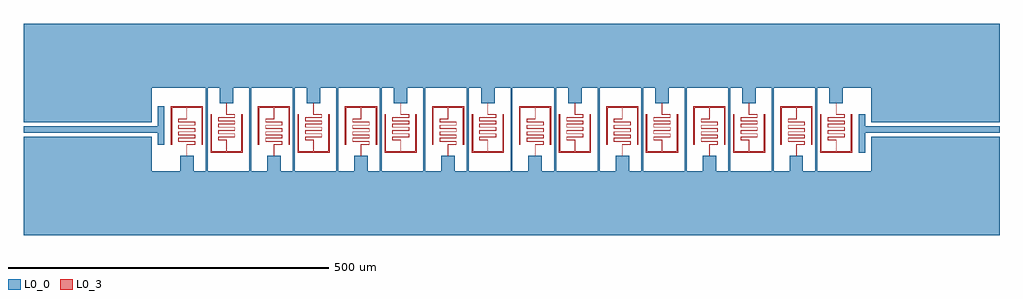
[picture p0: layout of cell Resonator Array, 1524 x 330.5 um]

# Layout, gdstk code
import gdstk
lib = gdstk.Library(unit=1e-6, precision=1e-09)
def P(c, l, *ps):  # polygons
    for p in ps: c.add(gdstk.Polygon(p, *l))
L0_0 = (0, 0)
L0_3 = (0, 3)

resonator_array = lib.new_cell('Resonator Array')
P(resonator_array, L0_0, [(-35,0),(-45,0),(-45,-31.25),(-255,-31.25),(-255,-41.25),(-45,-41.25),(-45,-60),(-35,-60)],
  [(1059,-41.25),(1269,-41.25),(1269,-31.25),(1059,-31.25),(1059,-12.5),(1049,-12.5),(1049,-72.5),(1059,-72.5)],
  [(1003.5,29),(1003.5,5),(1024,5),(1024,29),(1069,29),(1069,-25.25),(1269,-25.25),(1269,129),(-255,129),(-255,-25.25),(-55,-25.25),(-55,29),(32.5,29),(51.5,29),(51.5,5),(72.5,5),(72.5,29),(97.5,29),(97.5,-101.5),(100.5,-101.5),(100.5,29),(168.5,29),(187.5,29),(187.5,5),(208.5,5),(208.5,29),(233.5,29),(233.5,-101.5),(236.5,-101.5),(236.5,29),(304.5,29),(323.5,29),(323.5,5),(344.5,5),(344.5,29),(369.5,29),(369.5,-101.5),(372.5,-101.5),(372.5,29),(440.5,29),(459.5,29),(459.5,5),(480.5,5),(480.5,29),(505.5,29),(505.5,-101.5),(508.5,-101.5),(508.5,29),(576.5,29),(595.5,29),(595.5,5),(616.5,5),(616.5,29),(641.5,29),(641.5,-101.5),(644.5,-101.5),(644.5,29),(712.5,29),(731.5,29),(731.5,5),(752.5,5),(752.5,29),(777.5,29),(777.5,-101.5),(780.5,-101.5),(780.5,29),(848.5,29),(867.5,29),(867.5,5),(888.5,5),(888.5,29),(913.5,29),(913.5,-101.5),(916.5,-101.5),(916.5,29),(981.5,29),(981.5,-101.5),(962,-101.5),(962,-77.5),(941.5,-77.5),(941.5,-101.5),(916.5,-101.5),(913.5,-101.5),(848.5,-101.5),(848.5,29),(780.5,29),(845.5,29),(845.5,-101.5),(826.5,-101.5),(826.5,-77.5),(805.5,-77.5),(805.5,-101.5),(780.5,-101.5),(777.5,-101.5),(712.5,-101.5),(712.5,29),(644.5,29),(709.5,29),(709.5,-101.5),(690.5,-101.5),(690.5,-77.5),(669.5,-77.5),(669.5,-101.5),(644.5,-101.5),(641.5,-101.5),(576.5,-101.5),(576.5,29),(508.5,29),(573.5,29),(573.5,-101.5),(554.5,-101.5),(554.5,-77.5),(533.5,-77.5),(533.5,-101.5),(508.5,-101.5),(505.5,-101.5),(440.5,-101.5),(440.5,29),(372.5,29),(437.5,29),(437.5,-101.5),(418.5,-101.5),(418.5,-77.5),(397.5,-77.5),(397.5,-101.5),(372.5,-101.5),(369.5,-101.5),(304.5,-101.5),(304.5,29),(236.5,29),(301.5,29),(301.5,-101.5),(282.5,-101.5),(282.5,-77.5),(261.5,-77.5),(261.5,-101.5),(236.5,-101.5),(233.5,-101.5),(168.5,-101.5),(168.5,29),(100.5,29),(165.5,29),(165.5,-101.5),(146.5,-101.5),(146.5,-77.5),(125.5,-77.5),(125.5,-101.5),(100.5,-101.5),(97.5,-101.5),(32.5,-101.5),(32.5,29),(-55,29),(29.5,29),(29.5,-101.5),(10.5,-101.5),(10.5,-77.5),(-10.5,-77.5),(-10.5,-101.5),(-55,-101.5),(-55,-47.25),(-255,-47.25),(-255,-201.5),(1269,-201.5),(1269,-47.25),(1069,-47.25),(1069,-101.5),(984.5,-101.5),(984.5,29)])
P(resonator_array, L0_3, [(-25,-60),(-23,-60),(-23,-2),(23,-2),(23,-60),(25,-60),(25,0),(-25,0)],
  [(0.25,-2),(-0.25,-2),(-0.25,-19.5),(-13,-19.5),(-13,-25),(0,-25),(12.5,-25),(12.5,-29.5),(0,-29.5),(-13,-29.5),(-13,-35),(0,-35),(12.5,-35),(12.5,-39.5),(0,-39.5),(-13,-39.5),(-13,-45),(0,-45),(12.5,-45),(12.5,-49.5),(0,-49.5),(-13,-49.5),(-13,-55),(0,-55),(12.5,-55),(12.5,-59.5),(-0.25,-59.5),(-0.25,-77.5),(0.25,-77.5),(0.25,-60),(13,-60),(13,-54.5),(0,-54.5),(-12.5,-54.5),(-12.5,-50),(0,-50),(13,-50),(13,-44.5),(0,-44.5),(-12.5,-44.5),(-12.5,-40),(0,-40),(13,-40),(13,-34.5),(0,-34.5),(-12.5,-34.5),(-12.5,-30),(0,-30),(13,-30),(13,-24.5),(0,-24.5),(-12.5,-24.5),(-12.5,-20),(0.25,-20)],
  [(39,-12.5),(37,-12.5),(37,-72.5),(87,-72.5),(87,-12.5),(85,-12.5),(85,-70.5),(39,-70.5)],
  [(61.75,-70.5),(62.25,-70.5),(62.25,-52.5),(49.5,-52.5),(49.5,-48),(62,-48),(75,-48),(75,-42.5),(62,-42.5),(49.5,-42.5),(49.5,-38),(62,-38),(75,-38),(75,-32.5),(62,-32.5),(49.5,-32.5),(49.5,-28),(62,-28),(75,-28),(75,-22.5),(62,-22.5),(49.5,-22.5),(49.5,-18),(62,-18),(75,-18),(75,-12.5),(62.25,-12.5),(62.25,5),(61.75,5),(61.75,-13),(74.5,-13),(74.5,-17.5),(62,-17.5),(49,-17.5),(49,-23),(62,-23),(74.5,-23),(74.5,-27.5),(62,-27.5),(49,-27.5),(49,-33),(62,-33),(74.5,-33),(74.5,-37.5),(62,-37.5),(49,-37.5),(49,-43),(62,-43),(74.5,-43),(74.5,-47.5),(62,-47.5),(49,-47.5),(49,-53),(61.75,-53)],
  [(111,-60),(113,-60),(113,-2),(159,-2),(159,-60),(161,-60),(161,0),(111,0)],
  [(136.25,-2),(135.75,-2),(135.75,-19.5),(123,-19.5),(123,-25),(136,-25),(148.5,-25),(148.5,-29.5),(136,-29.5),(123,-29.5),(123,-35),(136,-35),(148.5,-35),(148.5,-39.5),(136,-39.5),(123,-39.5),(123,-45),(136,-45),(148.5,-45),(148.5,-49.5),(136,-49.5),(123,-49.5),(123,-55),(136,-55),(148.5,-55),(148.5,-59.5),(135.75,-59.5),(135.75,-77.5),(136.25,-77.5),(136.25,-60),(149,-60),(149,-54.5),(136,-54.5),(123.5,-54.5),(123.5,-50),(136,-50),(149,-50),(149,-44.5),(136,-44.5),(123.5,-44.5),(123.5,-40),(136,-40),(149,-40),(149,-34.5),(136,-34.5),(123.5,-34.5),(123.5,-30),(136,-30),(149,-30),(149,-24.5),(136,-24.5),(123.5,-24.5),(123.5,-20),(136.25,-20)],
  [(175,-12.5),(173,-12.5),(173,-72.5),(223,-72.5),(223,-12.5),(221,-12.5),(221,-70.5),(175,-70.5)],
  [(197.75,-70.5),(198.25,-70.5),(198.25,-52.5),(185.5,-52.5),(185.5,-48),(198,-48),(211,-48),(211,-42.5),(198,-42.5),(185.5,-42.5),(185.5,-38),(198,-38),(211,-38),(211,-32.5),(198,-32.5),(185.5,-32.5),(185.5,-28),(198,-28),(211,-28),(211,-22.5),(198,-22.5),(185.5,-22.5),(185.5,-18),(198,-18),(211,-18),(211,-12.5),(198.25,-12.5),(198.25,5),(197.75,5),(197.75,-13),(210.5,-13),(210.5,-17.5),(198,-17.5),(185,-17.5),(185,-23),(198,-23),(210.5,-23),(210.5,-27.5),(198,-27.5),(185,-27.5),(185,-33),(198,-33),(210.5,-33),(210.5,-37.5),(198,-37.5),(185,-37.5),(185,-43),(198,-43),(210.5,-43),(210.5,-47.5),(198,-47.5),(185,-47.5),(185,-53),(197.75,-53)],
  [(247,-60),(249,-60),(249,-2),(295,-2),(295,-60),(297,-60),(297,0),(247,0)],
  [(272.25,-2),(271.75,-2),(271.75,-19.5),(259,-19.5),(259,-25),(272,-25),(284.5,-25),(284.5,-29.5),(272,-29.5),(259,-29.5),(259,-35),(272,-35),(284.5,-35),(284.5,-39.5),(272,-39.5),(259,-39.5),(259,-45),(272,-45),(284.5,-45),(284.5,-49.5),(272,-49.5),(259,-49.5),(259,-55),(272,-55),(284.5,-55),(284.5,-59.5),(271.75,-59.5),(271.75,-77.5),(272.25,-77.5),(272.25,-60),(285,-60),(285,-54.5),(272,-54.5),(259.5,-54.5),(259.5,-50),(272,-50),(285,-50),(285,-44.5),(272,-44.5),(259.5,-44.5),(259.5,-40),(272,-40),(285,-40),(285,-34.5),(272,-34.5),(259.5,-34.5),(259.5,-30),(272,-30),(285,-30),(285,-24.5),(272,-24.5),(259.5,-24.5),(259.5,-20),(272.25,-20)],
  [(311,-12.5),(309,-12.5),(309,-72.5),(359,-72.5),(359,-12.5),(357,-12.5),(357,-70.5),(311,-70.5)],
  [(333.75,-70.5),(334.25,-70.5),(334.25,-52.5),(321.5,-52.5),(321.5,-48),(334,-48),(347,-48),(347,-42.5),(334,-42.5),(321.5,-42.5),(321.5,-38),(334,-38),(347,-38),(347,-32.5),(334,-32.5),(321.5,-32.5),(321.5,-28),(334,-28),(347,-28),(347,-22.5),(334,-22.5),(321.5,-22.5),(321.5,-18),(334,-18),(347,-18),(347,-12.5),(334.25,-12.5),(334.25,5),(333.75,5),(333.75,-13),(346.5,-13),(346.5,-17.5),(334,-17.5),(321,-17.5),(321,-23),(334,-23),(346.5,-23),(346.5,-27.5),(334,-27.5),(321,-27.5),(321,-33),(334,-33),(346.5,-33),(346.5,-37.5),(334,-37.5),(321,-37.5),(321,-43),(334,-43),(346.5,-43),(346.5,-47.5),(334,-47.5),(321,-47.5),(321,-53),(333.75,-53)],
  [(383,-60),(385,-60),(385,-2),(431,-2),(431,-60),(433,-60),(433,0),(383,0)],
  [(408.25,-2),(407.75,-2),(407.75,-19.5),(395,-19.5),(395,-25),(408,-25),(420.5,-25),(420.5,-29.5),(408,-29.5),(395,-29.5),(395,-35),(408,-35),(420.5,-35),(420.5,-39.5),(408,-39.5),(395,-39.5),(395,-45),(408,-45),(420.5,-45),(420.5,-49.5),(408,-49.5),(395,-49.5),(395,-55),(408,-55),(420.5,-55),(420.5,-59.5),(407.75,-59.5),(407.75,-77.5),(408.25,-77.5),(408.25,-60),(421,-60),(421,-54.5),(408,-54.5),(395.5,-54.5),(395.5,-50),(408,-50),(421,-50),(421,-44.5),(408,-44.5),(395.5,-44.5),(395.5,-40),(408,-40),(421,-40),(421,-34.5),(408,-34.5),(395.5,-34.5),(395.5,-30),(408,-30),(421,-30),(421,-24.5),(408,-24.5),(395.5,-24.5),(395.5,-20),(408.25,-20)],
  [(447,-12.5),(445,-12.5),(445,-72.5),(495,-72.5),(495,-12.5),(493,-12.5),(493,-70.5),(447,-70.5)],
  [(469.75,-70.5),(470.25,-70.5),(470.25,-52.5),(457.5,-52.5),(457.5,-48),(470,-48),(483,-48),(483,-42.5),(470,-42.5),(457.5,-42.5),(457.5,-38),(470,-38),(483,-38),(483,-32.5),(470,-32.5),(457.5,-32.5),(457.5,-28),(470,-28),(483,-28),(483,-22.5),(470,-22.5),(457.5,-22.5),(457.5,-18),(470,-18),(483,-18),(483,-12.5),(470.25,-12.5),(470.25,5),(469.75,5),(469.75,-13),(482.5,-13),(482.5,-17.5),(470,-17.5),(457,-17.5),(457,-23),(470,-23),(482.5,-23),(482.5,-27.5),(470,-27.5),(457,-27.5),(457,-33),(470,-33),(482.5,-33),(482.5,-37.5),(470,-37.5),(457,-37.5),(457,-43),(470,-43),(482.5,-43),(482.5,-47.5),(470,-47.5),(457,-47.5),(457,-53),(469.75,-53)],
  [(519,-60),(521,-60),(521,-2),(567,-2),(567,-60),(569,-60),(569,0),(519,0)],
  [(544.25,-2),(543.75,-2),(543.75,-19.5),(531,-19.5),(531,-25),(544,-25),(556.5,-25),(556.5,-29.5),(544,-29.5),(531,-29.5),(531,-35),(544,-35),(556.5,-35),(556.5,-39.5),(544,-39.5),(531,-39.5),(531,-45),(544,-45),(556.5,-45),(556.5,-49.5),(544,-49.5),(531,-49.5),(531,-55),(544,-55),(556.5,-55),(556.5,-59.5),(543.75,-59.5),(543.75,-77.5),(544.25,-77.5),(544.25,-60),(557,-60),(557,-54.5),(544,-54.5),(531.5,-54.5),(531.5,-50),(544,-50),(557,-50),(557,-44.5),(544,-44.5),(531.5,-44.5),(531.5,-40),(544,-40),(557,-40),(557,-34.5),(544,-34.5),(531.5,-34.5),(531.5,-30),(544,-30),(557,-30),(557,-24.5),(544,-24.5),(531.5,-24.5),(531.5,-20),(544.25,-20)],
  [(583,-12.5),(581,-12.5),(581,-72.5),(631,-72.5),(631,-12.5),(629,-12.5),(629,-70.5),(583,-70.5)],
  [(605.75,-70.5),(606.25,-70.5),(606.25,-52.5),(593.5,-52.5),(593.5,-48),(606,-48),(619,-48),(619,-42.5),(606,-42.5),(593.5,-42.5),(593.5,-38),(606,-38),(619,-38),(619,-32.5),(606,-32.5),(593.5,-32.5),(593.5,-28),(606,-28),(619,-28),(619,-22.5),(606,-22.5),(593.5,-22.5),(593.5,-18),(606,-18),(619,-18),(619,-12.5),(606.25,-12.5),(606.25,5),(605.75,5),(605.75,-13),(618.5,-13),(618.5,-17.5),(606,-17.5),(593,-17.5),(593,-23),(606,-23),(618.5,-23),(618.5,-27.5),(606,-27.5),(593,-27.5),(593,-33),(606,-33),(618.5,-33),(618.5,-37.5),(606,-37.5),(593,-37.5),(593,-43),(606,-43),(618.5,-43),(618.5,-47.5),(606,-47.5),(593,-47.5),(593,-53),(605.75,-53)],
  [(655,-60),(657,-60),(657,-2),(703,-2),(703,-60),(705,-60),(705,0),(655,0)],
  [(680.25,-2),(679.75,-2),(679.75,-19.5),(667,-19.5),(667,-25),(680,-25),(692.5,-25),(692.5,-29.5),(680,-29.5),(667,-29.5),(667,-35),(680,-35),(692.5,-35),(692.5,-39.5),(680,-39.5),(667,-39.5),(667,-45),(680,-45),(692.5,-45),(692.5,-49.5),(680,-49.5),(667,-49.5),(667,-55),(680,-55),(692.5,-55),(692.5,-59.5),(679.75,-59.5),(679.75,-77.5),(680.25,-77.5),(680.25,-60),(693,-60),(693,-54.5),(680,-54.5),(667.5,-54.5),(667.5,-50),(680,-50),(693,-50),(693,-44.5),(680,-44.5),(667.5,-44.5),(667.5,-40),(680,-40),(693,-40),(693,-34.5),(680,-34.5),(667.5,-34.5),(667.5,-30),(680,-30),(693,-30),(693,-24.5),(680,-24.5),(667.5,-24.5),(667.5,-20),(680.25,-20)],
  [(719,-12.5),(717,-12.5),(717,-72.5),(767,-72.5),(767,-12.5),(765,-12.5),(765,-70.5),(719,-70.5)],
  [(741.75,-70.5),(742.25,-70.5),(742.25,-52.5),(729.5,-52.5),(729.5,-48),(742,-48),(755,-48),(755,-42.5),(742,-42.5),(729.5,-42.5),(729.5,-38),(742,-38),(755,-38),(755,-32.5),(742,-32.5),(729.5,-32.5),(729.5,-28),(742,-28),(755,-28),(755,-22.5),(742,-22.5),(729.5,-22.5),(729.5,-18),(742,-18),(755,-18),(755,-12.5),(742.25,-12.5),(742.25,5),(741.75,5),(741.75,-13),(754.5,-13),(754.5,-17.5),(742,-17.5),(729,-17.5),(729,-23),(742,-23),(754.5,-23),(754.5,-27.5),(742,-27.5),(729,-27.5),(729,-33),(742,-33),(754.5,-33),(754.5,-37.5),(742,-37.5),(729,-37.5),(729,-43),(742,-43),(754.5,-43),(754.5,-47.5),(742,-47.5),(729,-47.5),(729,-53),(741.75,-53)],
  [(791,-60),(793,-60),(793,-2),(839,-2),(839,-60),(841,-60),(841,0),(791,0)],
  [(816.25,-2),(815.75,-2),(815.75,-19.5),(803,-19.5),(803,-25),(816,-25),(828.5,-25),(828.5,-29.5),(816,-29.5),(803,-29.5),(803,-35),(816,-35),(828.5,-35),(828.5,-39.5),(816,-39.5),(803,-39.5),(803,-45),(816,-45),(828.5,-45),(828.5,-49.5),(816,-49.5),(803,-49.5),(803,-55),(816,-55),(828.5,-55),(828.5,-59.5),(815.75,-59.5),(815.75,-77.5),(816.25,-77.5),(816.25,-60),(829,-60),(829,-54.5),(816,-54.5),(803.5,-54.5),(803.5,-50),(816,-50),(829,-50),(829,-44.5),(816,-44.5),(803.5,-44.5),(803.5,-40),(816,-40),(829,-40),(829,-34.5),(816,-34.5),(803.5,-34.5),(803.5,-30),(816,-30),(829,-30),(829,-24.5),(816,-24.5),(803.5,-24.5),(803.5,-20),(816.25,-20)],
  [(855,-12.5),(853,-12.5),(853,-72.5),(903,-72.5),(903,-12.5),(901,-12.5),(901,-70.5),(855,-70.5)],
  [(877.75,-70.5),(878.25,-70.5),(878.25,-52.5),(865.5,-52.5),(865.5,-48),(878,-48),(891,-48),(891,-42.5),(878,-42.5),(865.5,-42.5),(865.5,-38),(878,-38),(891,-38),(891,-32.5),(878,-32.5),(865.5,-32.5),(865.5,-28),(878,-28),(891,-28),(891,-22.5),(878,-22.5),(865.5,-22.5),(865.5,-18),(878,-18),(891,-18),(891,-12.5),(878.25,-12.5),(878.25,5),(877.75,5),(877.75,-13),(890.5,-13),(890.5,-17.5),(878,-17.5),(865,-17.5),(865,-23),(878,-23),(890.5,-23),(890.5,-27.5),(878,-27.5),(865,-27.5),(865,-33),(878,-33),(890.5,-33),(890.5,-37.5),(878,-37.5),(865,-37.5),(865,-43),(878,-43),(890.5,-43),(890.5,-47.5),(878,-47.5),(865,-47.5),(865,-53),(877.75,-53)],
  [(927,-60),(929,-60),(929,-2),(975,-2),(975,-60),(977,-60),(977,0),(927,0)],
  [(952.25,-2),(951.75,-2),(951.75,-19.5),(939,-19.5),(939,-25),(952,-25),(964.5,-25),(964.5,-29.5),(952,-29.5),(939,-29.5),(939,-35),(952,-35),(964.5,-35),(964.5,-39.5),(952,-39.5),(939,-39.5),(939,-45),(952,-45),(964.5,-45),(964.5,-49.5),(952,-49.5),(939,-49.5),(939,-55),(952,-55),(964.5,-55),(964.5,-59.5),(951.75,-59.5),(951.75,-77.5),(952.25,-77.5),(952.25,-60),(965,-60),(965,-54.5),(952,-54.5),(939.5,-54.5),(939.5,-50),(952,-50),(965,-50),(965,-44.5),(952,-44.5),(939.5,-44.5),(939.5,-40),(952,-40),(965,-40),(965,-34.5),(952,-34.5),(939.5,-34.5),(939.5,-30),(952,-30),(965,-30),(965,-24.5),(952,-24.5),(939.5,-24.5),(939.5,-20),(952.25,-20)],
  [(991,-12.5),(989,-12.5),(989,-72.5),(1039,-72.5),(1039,-12.5),(1037,-12.5),(1037,-70.5),(991,-70.5)],
  [(1013.75,-70.5),(1014.25,-70.5),(1014.25,-52.5),(1001.5,-52.5),(1001.5,-48),(1014,-48),(1027,-48),(1027,-42.5),(1014,-42.5),(1001.5,-42.5),(1001.5,-38),(1014,-38),(1027,-38),(1027,-32.5),(1014,-32.5),(1001.5,-32.5),(1001.5,-28),(1014,-28),(1027,-28),(1027,-22.5),(1014,-22.5),(1001.5,-22.5),(1001.5,-18),(1014,-18),(1027,-18),(1027,-12.5),(1014.25,-12.5),(1014.25,5),(1013.75,5),(1013.75,-13),(1026.5,-13),(1026.5,-17.5),(1014,-17.5),(1001,-17.5),(1001,-23),(1014,-23),(1026.5,-23),(1026.5,-27.5),(1014,-27.5),(1001,-27.5),(1001,-33),(1014,-33),(1026.5,-33),(1026.5,-37.5),(1014,-37.5),(1001,-37.5),(1001,-43),(1014,-43),(1026.5,-43),(1026.5,-47.5),(1014,-47.5),(1001,-47.5),(1001,-53),(1013.75,-53)])

lib.write_gds('Resonator_Array.gds')
